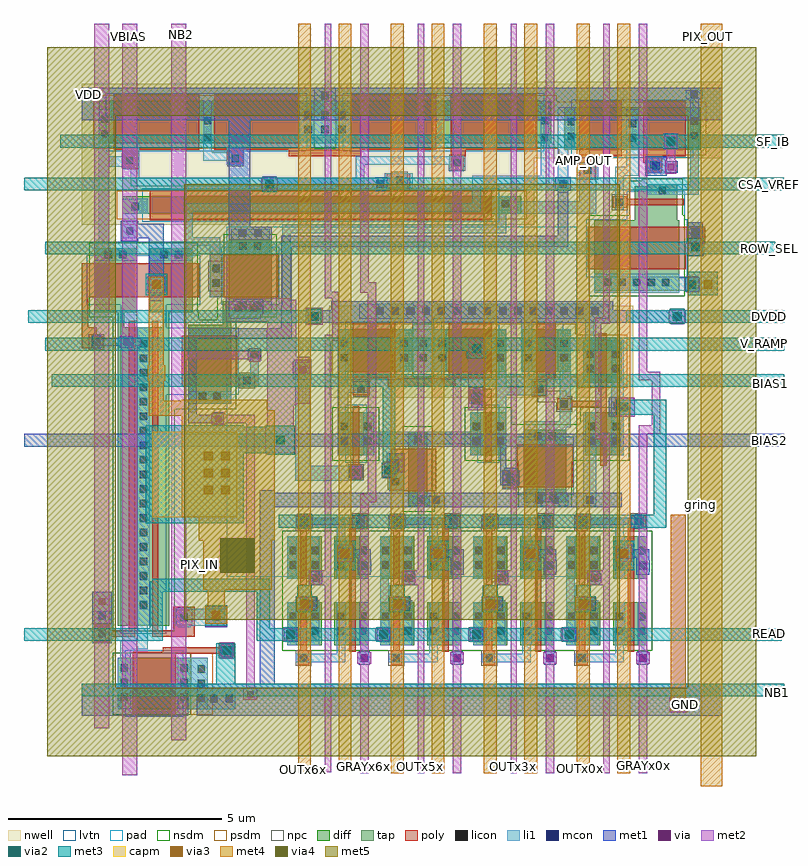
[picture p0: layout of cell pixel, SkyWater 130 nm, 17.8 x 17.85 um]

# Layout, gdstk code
from math import pi, radians
import gdstk
lib = gdstk.Library(unit=1e-6, precision=1e-09)
def R(c, l, rs):  # rectangles x0, y0, x1, y1
    for r in rs: c.add(gdstk.rectangle(r[:2], r[2:], *l))
def A(c, l, x, y, w, h, nx, ny, dx, dy):  # array of equal rectangles
    R(c, l, [(x+i*dx, y+j*dy, x+i*dx+w, y+j*dy+h) for i in range(nx) for j in range(ny)])
nwell = (64, 20)
diff = (65, 20)
tap = (65, 44)
poly = (66, 20)
licon = (66, 44)
li1 = (67, 20)
mcon = (67, 44)
met1 = (68, 20)
via = (68, 44)
met2 = (69, 20)
via2 = (69, 44)
met3 = (70, 20)
via3 = (70, 44)
met4 = (71, 20)
via4 = (71, 44)
met5 = (72, 20)
pad = (76, 20)
capm = (89, 44)
nsdm = (93, 44)
psdm = (94, 20)
npc = (95, 20)
lvtn = (125, 44)

dram_cell = lib.new_cell('dram_cell')
R(dram_cell, diff, [(-0.2,-0.35,0.6,0.65), (0.9,-0.35,1.7,0.65)])
R(dram_cell, poly, [(0.1,-0.5,0.25,0.8), (1.25,-0.5,1.4,0.785), (1.19,0.785,1.46,1.115)])
R(dram_cell, licon, [(-0.15,-0.105,0.02,0.065), (0.365,-0.105,0.535,0.065), (0.965,-0.105,1.135,0.065), (1.48,-0.105,1.65,0.065), (-0.15,0.235,0.02,0.405), (0.365,0.235,0.535,0.405), (0.965,0.235,1.135,0.405), (1.48,0.235,1.65,0.405), (1.24,0.865,1.41,1.035)])
R(dram_cell, li1, [(0.95,-0.4,1.15,-0.35), (-0.2,-0.35,0.02,0.65), (0.33,-0.35,0.55,0.65), (0.95,-0.35,1.17,0.65), (1.48,-0.35,1.7,0.65), (0.35,0.65,0.55,0.85), (0.35,0.85,1.5,1.05)])
R(dram_cell, nsdm, [(-0.325,-0.475,1.825,0.775)])
R(dram_cell, npc, [(1.14,0.765,1.51,1.135)])
dram_cell.add(gdstk.Label('storage', (0.66,0.93), layer=67, texttype=5))
dram_cell.add(gdstk.Label('WWL', (0.165,0.77), layer=66, texttype=16))
dram_cell.add(gdstk.Label('WBL', (-0.185,0.595), layer=67, texttype=16))
dram_cell.add(gdstk.Label('RWL', (1.61,-0.3), layer=67, texttype=16))
dram_cell.add(gdstk.Label('RBL', (1.08,-0.37), layer=67, texttype=16))

dram_array = lib.new_cell('dram_array')
R(dram_array, poly, [(0.035,-1.885,0.365,-1.825), (0.035,-1.825,0.45,-1.615), (0.3,-1.615,0.45,-1.4), (0.3,-0.325,0.45,0.15)])
R(dram_array, licon, [(0.115,-1.835,0.285,-1.665)])
R(dram_array, li1, [(0.115,-1.915,0.285,-1.585), (0,-1.4,0.2,-1.3), (0,-0.8,0.2,-0.4), (1.14,-0.51,1.31,-0.34), (1.265,0.09,1.435,0.1), (1.15,0.1,1.435,0.25), (1.265,0.25,1.435,0.26), (1.75,0.575,1.9,0.815), (1.74,0.815,1.91,0.985), (1.75,0.985,1.9,1.15), (0,1.05,0.2,1.55)])
R(dram_array, mcon, [(0.115,-1.835,0.285,-1.665), (0.015,-0.785,0.185,-0.615), (1.14,-0.51,1.31,-0.34), (1.265,0.09,1.435,0.26), (1.74,0.815,1.91,0.985), (0.015,1.365,0.185,1.535)])
R(dram_array, met1, [(0.085,-1.895,0.315,-1.835), (1.34,-1.88,1.66,-1.835), (0.085,-1.835,1.66,-1.665), (0.085,-1.665,0.315,-1.605), (1.34,-1.665,1.66,-1.62), (0.39,-1.13,0.71,-1.1), (-0.05,-1.1,0.71,-0.9), (-0.05,-0.9,0.25,-0.83), (0.39,-0.9,0.71,-0.87), (-0.06,-0.83,0.25,-0.57), (1.095,-0.585,1.355,-0.54), (-0.05,-0.57,0.25,-0.5), (1.08,-0.54,1.37,-0.31), (1.095,-0.31,1.355,-0.265), (1.22,0.015,1.48,0.335), (1.71,0.755,1.94,0.77), (1.665,0.77,1.985,1.03), (1.71,1.03,1.94,1.045), (-0.03,1.29,0.23,1.32), (-0.06,1.32,0.26,1.58), (-0.03,1.58,0.23,1.61)])
R(dram_array, via, [(1.425,-1.825,1.575,-1.675), (0.475,-1.075,0.625,-0.925), (1.15,-0.5,1.3,-0.35), (1.275,0.1,1.425,0.25), (1.75,0.825,1.9,0.975), (0.025,1.375,0.175,1.525)])
R(dram_array, met2, [(0,-2.15,0.2,1.32), (0.875,-2.15,1.025,-0.6), (1.37,-1.91,1.63,-1.9), (1.305,-1.9,1.695,-1.6), (1.37,-1.6,1.63,-1.59), (0.35,-1.2,0.7,-0.8), (0.875,-0.6,1.4,-0.25), (0.875,-0.25,1.025,1.85), (1.305,0.025,1.695,0.045), (1.19,0.045,1.695,0.305), (1.305,0.305,1.695,0.325), (1.695,0.74,1.955,0.75), (1.63,0.75,2.02,1.05), (1.695,1.05,1.955,1.06), (-0.06,1.32,0.26,1.58), (0,1.58,0.2,1.85)])
R(dram_array, via2, [(1.4,-1.85,1.6,-1.65), (0.45,-1.1,0.65,-0.9), (1.4,0.075,1.6,0.275), (1.725,0.8,1.925,1)])
R(dram_array, met3, [(1.325,-1.925,1.675,-1.9), (-0.45,-1.9,2.1,-1.6), (1.325,-1.6,1.675,-1.575), (0.3,-1.3,0.8,-0.6), (1.325,-0.25,1.675,0), (1.2,0,1.7,0.35), (1.325,0.35,1.675,0.38), (1.65,0.725,2,0.75), (-0.3,0.75,2.1,1.05), (1.65,1.05,2,1.075)])
R(dram_array, via3, [(0.45,-1.1,0.65,-0.9), (1.4,0.09,1.6,0.29)])
R(dram_array, met4, [(0.4,-2.15,0.7,-1.18), (1.35,-2.15,1.65,0.025), (0.37,-1.18,0.73,-0.82), (0.4,-0.82,0.7,1.85), (1.32,0.025,1.68,0.355), (1.35,0.355,1.65,1.85)])
R(dram_array, nsdm, [(-0.125,-0.275,2.025,0.025)])
R(dram_array, npc, [(0.015,-1.935,0.385,-1.565)])
dram_array.add(gdstk.Reference(dram_cell, (0.2,-0.75), x_reflection=True))
dram_array.add(gdstk.Reference(dram_cell, (0.2,0.5)))

c_4bit_dram = lib.new_cell('4bit_dram')
R(c_4bit_dram, li1, [(1.85,2.2,2.05,2.75)])
R(c_4bit_dram, nsdm, [(2.175,1.075,2.2,3.875)])
c_4bit_dram.add(gdstk.Reference(dram_array, (2.325,2.6)))
c_4bit_dram.add(gdstk.Reference(dram_array, (0.15,2.6)))

c_8bit_dram = lib.new_cell('8bit_dram')
R(c_8bit_dram, nsdm, [(4.3,0.525,4.325,3.325)])
c_8bit_dram.add(gdstk.Reference(c_4bit_dram, (4.3,-0.55)))
c_8bit_dram.add(gdstk.Reference(c_4bit_dram, (-0.05,-0.55)))

pixel = lib.new_cell('pixel')
R(pixel, nwell, [(4.8,-5.9,11.925,-3.75), (-1,-1.85,9.6,-0.3), (-1,-0.3,14,1.45), (9.6,1.45,14,1.5)])
R(pixel, diff, [(-0.15,-13.2,1.55,-12), (-0.15,-11.25,1.05,-4.25), (6.65,-8.45,7.15,-8.2), (9.35,-8.35,10.35,-6.65), (6.65,-8.2,7.1,-6.7), (5,-7.25,5.85,-6.25), (8.1,-7.25,8.95,-6.25), (10.8,-7.25,11.7,-6.25), (1.5,-6.05,2.5,-4.2), (10.75,-5.55,11.65,-4.55), (5,-5.3,6.75,-4.3), (7.25,-5.3,8.95,-4.3), (9.3,-5.3,10.45,-4.3), (-0.15,-4.25,0,-3.9), (0.9,-4.25,1.05,-3.9), (2.3,-4.2,2.5,-3.9), (-0.7,-3.9,0.3,-2.4), (0.6,-3.9,1.6,-2.4), (2.3,-3.9,3.45,-3.65), (2.45,-3.65,3.45,-2.2), (11,-3.4,13,-1.75), (11.95,-1.75,12.95,-0.95), (-0.05,-1.6,9.3,-1.18), (12.25,-0.95,12.95,-0.9), (10.3,-0.1,13.5,0.9), (-0.6,0.05,4.45,1.05), (4.95,0.05,10,1.05)])
R(pixel, tap, [(1.55,-13.2,1.95,-12), (6.75,-5.3,7.25,-4.3), (4.45,0.05,4.95,1.05)])
R(pixel, poly, [(0.2,-13.35,1.2,-11.9), (2.265,-11.99,2.535,-11.9), (0.2,-11.9,2.535,-11.85), (0.9,-11.85,2.535,-11.75), (2.265,-11.75,2.535,-11.66), (-0.75,-11.65,-0.3,-11.5), (-0.75,-11.5,0.25,-11.35), (0.65,-11.5,1.65,-11.35), (-0.75,-11.35,-0.3,-11.2), (0.1,-11.35,0.25,-4.1), (0.65,-11.35,0.8,-4.1), (1.15,-11.35,1.65,-10.8), (6.2,-8.1,7.3,-7.2), (8.85,-8.05,9.2,-8), (8.85,-8,10.5,-7.6), (5.29,-7.815,5.56,-7.485), (9.2,-7.6,10.5,-7), (11.15,-7.5,11.3,-6.125), (5.35,-7.485,5.5,-6.1), (8.45,-7.4,8.6,-6), (6.25,-7.2,7.3,-7.1), (10.135,-6.185,10.465,-6.125), (10.135,-6.125,11.3,-5.975), (8.4,-6,8.6,-5.985), (8.085,-5.985,8.6,-5.715), (10.135,-5.975,10.465,-5.915), (11.15,-5.975,11.3,-5.75), (9.59,-5.865,9.86,-5.85), (5.35,-5.85,5.75,-5.45), (9.59,-5.85,9.9,-5.535), (11.1,-5.75,11.3,-4.4), (8.4,-5.715,8.6,-5.7), (1.35,-5.65,3.15,-5.35), (6.175,-5.65,7.75,-5.45), (9.65,-5.535,9.9,-5.45), (5.35,-5.45,6.35,-4.15), (7.6,-5.45,8.6,-4.15), (9.65,-5.45,10.1,-4.15), (1.35,-5.35,2.65,-4.45), (-1,-4.75,-0.65,-4.735), (-1,-4.735,-0.485,-4.465), (-1,-4.465,-0.65,-4.25), (-1,-4.25,-0.85,-3.55), (-1,-3.55,1.75,-2.75), (2,-3.55,3.6,-2.55), (10.85,-2.9,13.15,-2.3), (10.85,-2.3,13.6,-1.9), (0.6,-1.75,8.6,-1.04), (11.435,-1.46,11.765,-1.4), (11.435,-1.4,13.1,-1.25), (11.435,-1.25,11.765,-1.19), (6.15,-1.04,6.7,-0.65), (10.65,-0.8,11.05,-0.25), (12.2,-0.6,12.6,-0.4), (7.65,-0.58,7.95,-0.25), (-0.05,-0.55,0.35,-0.1), (2.4,-0.45,2.8,-0.1), (12.15,-0.4,12.6,-0.25), (3.85,-0.25,5.55,-0.1), (7.65,-0.25,8,-0.1), (10.65,-0.25,11.65,1.05), (12.15,-0.25,13.15,1.05), (-0.25,-0.1,1.75,1.2), (2.1,-0.1,4.1,1.2), (5.3,-0.1,7.3,1.2), (7.65,-0.1,9.65,1.2)])
A(pixel, licon, 1.715, -13.025, 0.17, 0.17, 1, 3, 0, 0.34)
A(pixel, licon, -0.085, -13, 0.17, 0.17, 1, 3, 0, 0.34)
A(pixel, licon, 1.315, -13, 0.17, 0.17, 1, 3, 0, 0.34)
A(pixel, licon, 0.365, -10.845, 0.17, 0.17, 1, 19, 0, 0.34)
A(pixel, licon, 11.235, -3.285, 0.17, 0.17, 5, 1, 0.34, 0)
A(pixel, licon, 4.215, 0.295, 0.17, 0.17, 3, 2, 0.4, 0.34)
R(pixel, licon, [(2.315,-11.91,2.485,-11.74), (-0.61,-11.51,-0.44,-11.34), (1.315,-11.135,1.485,-10.965), (6.865,-8.385,7.035,-8.215), (9.62,-8.285,9.79,-8.115), (9.96,-8.285,10.13,-8.115), (6.265,-7.955,6.435,-7.785), (8.965,-7.91,9.135,-7.74), (5.34,-7.735,5.51,-7.565), (6.265,-7.615,6.435,-7.445), (5.065,-7.005,5.235,-6.835), (5.615,-7.005,5.785,-6.835), (8.165,-7.005,8.335,-6.835), (8.715,-7.005,8.885,-6.835), (10.865,-7.005,11.035,-6.835), (11.44,-7.005,11.61,-6.835), (6.79,-6.96,6.96,-6.79), (9.595,-6.885,9.765,-6.715), (9.935,-6.885,10.105,-6.715), (5.065,-6.665,5.235,-6.495), (5.615,-6.665,5.785,-6.495), (8.165,-6.665,8.335,-6.495), (8.715,-6.665,8.885,-6.495), (10.865,-6.665,11.035,-6.495), (11.44,-6.665,11.61,-6.495), (10.215,-6.135,10.385,-5.965), (1.745,-5.96,1.915,-5.79), (2.085,-5.96,2.255,-5.79), (8.165,-5.935,8.335,-5.765), (5.465,-5.785,5.635,-5.615), (9.64,-5.785,9.81,-5.615), (2.79,-5.585,2.96,-5.415), (10.83,-5.305,11,-5.135), (11.415,-5.305,11.585,-5.135), (5.065,-5.055,5.235,-4.885), (6.465,-5.055,6.635,-4.885), (6.915,-5.055,7.085,-4.885), (7.355,-5.055,7.525,-4.885), (8.715,-5.055,8.885,-4.885), (9.365,-5.055,9.535,-4.885), (10.215,-5.055,10.385,-4.885), (10.83,-4.965,11,-4.795), (11.415,-4.965,11.585,-4.795), (5.065,-4.715,5.235,-4.545), (6.465,-4.715,6.635,-4.545), (6.915,-4.715,7.085,-4.545), (7.355,-4.715,7.525,-4.545), (8.715,-4.715,8.885,-4.545), (9.365,-4.715,9.535,-4.545), (10.215,-4.715,10.385,-4.545), (-0.735,-4.685,-0.565,-4.515), (2.695,-3.835,2.865,-3.665), (3.035,-3.835,3.205,-3.665), (2.065,-3.305,2.235,-3.135), (2.065,-2.965,2.235,-2.795), (-0.455,-2.635,-0.285,-2.465), (-0.115,-2.635,0.055,-2.465), (0.845,-2.635,1.015,-2.465), (1.185,-2.635,1.355,-2.465), (2.695,-2.435,2.865,-2.265), (3.035,-2.435,3.205,-2.265), (13.29,-2.16,13.46,-1.99), (0.165,-1.51,0.335,-1.34), (8.84,-1.445,9.01,-1.275), (11.515,-1.41,11.685,-1.24), (12.515,-1.135,12.685,-0.965), (6.365,-0.885,6.535,-0.715), (10.765,-0.66,10.935,-0.49), (12.315,-0.535,12.485,-0.365), (7.715,-0.485,7.885,-0.315), (0.04,-0.435,0.21,-0.265), (2.515,-0.385,2.685,-0.215), (11.815,0.095,11.985,0.265), (1.85,0.1,2.02,0.27), (9.75,0.1,9.92,0.27), (10.38,0.135,10.55,0.305), (13.265,0.145,13.435,0.315), (-0.535,0.195,-0.365,0.365), (11.815,0.435,11.985,0.605), (10.38,0.475,10.55,0.645), (13.265,0.485,13.435,0.655), (1.85,0.5,2.02,0.67), (9.75,0.5,9.92,0.67), (-0.535,0.535,-0.365,0.705)])
R(pixel, li1, [(-0.15,-13.2,0.15,-12), (1.25,-13.2,2.6,-12.7), (1.25,-12.7,1.95,-12), (-0.1,-12,0.15,-11.8), (2.235,-11.91,2.565,-11.74), (-0.1,-11.8,0.55,-11.6), (-0.75,-11.65,-0.3,-10.9), (0.3,-11.6,0.55,-11.25), (1.25,-11.28,1.55,-11.25), (0.3,-11.25,0.6,-4.25), (1.2,-11.25,2.35,-10.85), (1.25,-10.85,1.55,-10.82), (6.75,-8.45,7.5,-8.2), (9.4,-8.45,10.4,-8.2), (10.75,-8.45,11.05,-6.25), (9.4,-8.2,10.35,-8.05), (6.2,-8.1,6.55,-7.2), (8.85,-8.05,9.2,-7.6), (4,-7.85,5.6,-7.5), (8.9,-7.6,9.2,-7.55), (4,-7.5,4.35,-5.075), (5,-7.25,5.25,-5.785), (5.6,-7.25,5.85,-7), (8.1,-7.25,8.35,-7), (8.7,-7.25,8.95,-5.85), (11.4,-7.25,11.7,-4.55), (5.6,-7,8.35,-6.7), (9.35,-6.9,10.35,-6.6), (5.6,-6.7,5.85,-6.25), (8.1,-6.7,8.35,-6.25), (9.35,-6.6,10.45,-6.45), (10.2,-6.45,10.45,-5.3), (1.5,-6.25,1.7,-6.05), (8.165,-6.06,8.335,-5.685), (1.5,-6.05,2.5,-5.75), (8.7,-5.85,9.9,-5.65), (5,-5.785,5.715,-5.615), (2.65,-5.65,3.15,-5.35), (8.7,-5.65,8.95,-4.3), (9.56,-5.65,9.89,-5.615), (5,-5.615,5.25,-4.3), (10.75,-5.55,11,-4.55), (2.95,-5.35,3.15,-4.8), (6.45,-5.3,7.55,-4.3), (9.3,-5.3,9.55,-4.05), (10.15,-5.3,10.45,-4.3), (-0.735,-4.765,-0.565,-4.435), (10.8,-4.55,11,-4.05), (6.75,-4.3,7.25,-4.05), (5.5,-4.05,11.35,-3.7), (2.45,-3.95,3.9,-3.75), (2.45,-3.75,3.45,-3.65), (3.7,-3.75,3.9,-2.05), (6.75,-3.7,7.25,-3.65), (2,-3.55,2.3,-2.55), (11,-3.45,13,-3.4), (11,-3.4,13.45,-3.1), (11,-3.1,13,-3), (-0.7,-2.7,0.3,-2.4), (0.6,-2.7,1.6,-2.4), (2,-2.55,2.25,-2.35), (2.5,-2.55,3.4,-1.95), (-0.7,-2.4,-0.35,-2.3), (1.4,-2.4,1.6,-2.35), (1.4,-2.35,2.25,-2.15), (13.2,-2.35,13.55,-1.8), (-0.6,-2.3,-0.35,-2.205), (-0.6,-2.205,-0.355,-2), (-0.05,-2.175,0.3,-1.6), (1.4,-2.15,1.6,-1.55), (3.7,-2.05,8.95,-1.85), (-0.6,-2,-0.35,-0.5), (8.7,-1.85,8.95,-1.6), (-0.05,-1.6,0.55,-1.25), (8.7,-1.6,11.05,-1.3), (1.4,-1.55,8.35,-1.35), (11.5,-1.5,11.7,-0.7), (8.15,-1.35,8.35,-0.9), (8.7,-1.3,9.15,-1.18), (10.65,-1.3,11.05,-0.8), (12.25,-1.15,13.45,-0.9), (10.15,-1.1,10.4,-0.1), (5.9,-1,6.75,-0.8), (0.15,-0.95,5.62,-0.75), (8.15,-0.9,9.95,-0.7), (13.25,-0.9,13.45,1.1), (6.1,-0.8,6.75,-0.65), (10.6,-0.8,11.1,-0.4), (0.15,-0.75,0.35,-0.55), (5.42,-0.75,5.62,-0.45), (9.75,-0.7,9.95,1.05), (11.5,-0.7,12.05,-0.5), (12.25,-0.65,12.7,-0.25), (7.6,-0.605,7.945,-0.6), (7.6,-0.6,7.95,-0.5), (-0.05,-0.55,0.35,-0.5), (-0.6,-0.5,0.35,-0.25), (7.6,-0.5,7.98,-0.45), (11.75,-0.5,12.05,0.85), (2.4,-0.45,2.8,-0.35), (5.42,-0.45,7.98,-0.3), (1.85,-0.35,2.8,-0.15), (5.42,-0.3,7.95,-0.25), (-0.6,-0.25,-0.35,0.85), (-0.05,-0.25,0.35,-0.05), (1.85,-0.15,2.05,1.05), (2.4,-0.15,2.8,-0.05), (10.15,-0.1,10.55,0.9), (4.1,0.05,5.3,1.05), (4.45,1.05,4.95,1.35), (13.15,1.1,13.55,1.3), (13.25,1.3,13.45,1.35)])
A(pixel, mcon, 5.895, -3.96, 0.17, 0.17, 15, 1, 0.36, 0)
R(pixel, mcon, [(2.01,-13.035,2.18,-12.865), (2.37,-13.035,2.54,-12.865), (2.315,-11.91,2.485,-11.74), (2.065,-11.135,2.235,-10.965), (-0.61,-11.11,-0.44,-10.94), (6.86,-8.385,7.03,-8.215), (7.22,-8.385,7.39,-8.215), (9.635,-8.385,9.805,-8.215), (9.995,-8.385,10.165,-8.215), (10.815,-8.385,10.985,-8.215), (8.94,-7.86,9.11,-7.69), (5.34,-7.735,5.51,-7.565), (6.265,-7.51,6.435,-7.34), (11.465,-6.185,11.635,-6.015), (8.165,-6.06,8.335,-5.89), (4.09,-5.335,4.26,-5.165), (2.965,-4.985,3.135,-4.815), (-0.735,-4.685,-0.565,-4.515), (2.585,-3.885,2.755,-3.715), (2.945,-3.885,3.115,-3.715), (13.215,-3.335,13.385,-3.165), (2.685,-2.135,2.855,-1.965), (3.045,-2.135,3.215,-1.965), (13.29,-2.11,13.46,-1.94), (0.04,-2.085,0.21,-1.915), (5.915,-0.985,6.085,-0.815), (10.19,-0.985,10.36,-0.815), (12.365,-0.56,12.535,-0.39), (4.615,1.09,4.785,1.26), (13.265,1.115,13.435,1.285)])
R(pixel, met1, [(-1,-13.35,1.5,-12.6), (1.7,-13.35,14,-12.6), (3.175,-12.6,3.525,-8.475), (2.27,-11.985,2.53,-11.94), (2.255,-11.94,2.545,-11.71), (2.27,-11.71,2.53,-11.665), (1.89,-11.28,2.41,-10.82), (-0.75,-11.2,-0.3,-10.45), (1.92,-10.82,2.38,-10.79), (3.175,-8.475,11.65,-8.125), (3.175,-8.125,3.525,-8.075), (8.8,-7.95,9.25,-7.6), (5.31,-7.795,5.54,-7.78), (5.265,-7.78,5.585,-7.52), (6.07,-7.76,6.33,-7.65), (6.07,-7.65,6.55,-7.44), (8.8,-7.6,9.2,-7.55), (8.8,-7.55,8.95,-7.05), (5.31,-7.52,5.54,-7.505), (6.15,-7.44,6.55,-7.2), (-2.35,-7.05,15.45,-6.75), (2.07,-6.56,2.33,-6.5), (1.5,-6.5,2.33,-6.3), (11.35,-6.35,11.95,-5.9), (1.5,-6.3,1.7,-4.525), (2.07,-6.3,2.33,-6.24), (8.12,-6.135,8.38,-5.815), (11.37,-5.9,11.73,-5.89), (3.97,-5.485,4.38,-5.455), (3.94,-5.455,4.38,-5.045), (2.92,-5.06,3.18,-5.03), (3.97,-5.045,4.38,-5.015), (2.89,-5.03,3.21,-4.77), (2.92,-4.77,3.18,-4.74), (-0.765,-4.745,-0.535,-4.685), (-0.11,-4.73,0.21,-4.685), (-0.765,-4.685,0.21,-4.515), (1.5,-4.525,3.925,-4.275), (-0.765,-4.515,-0.535,-4.455), (-0.11,-4.515,0.21,-4.47), (3.675,-4.275,3.925,-2.365), (4.3,-4.18,4.6,-4.15), (4.3,-4.15,13.13,-3.85), (2.45,-4.05,3.2,-3.95), (2.45,-3.95,3.25,-3.65), (4.3,-3.85,4.6,-3.82), (4.85,-3.85,11.45,-3.65), (0.575,-3.65,0.925,-3.425), (2.55,-3.65,3.25,-3.6), (13.15,-3.43,13.45,-3.4), (0.545,-3.425,0.955,-3.075), (13.12,-3.4,13.48,-3.1), (13.15,-3.1,13.45,-3.07), (0.575,-3.075,0.925,-2.175), (13.2,-2.58,13.55,-1.8), (3.675,-2.365,10.4,-2.115), (-0.08,-2.235,0.33,-2.175), (2.45,-2.2,3.45,-1.9), (-0.08,-2.175,0.925,-1.825), (10.15,-2.115,10.4,-1.055), (2.45,-1.9,2.95,0.6), (-0.08,-1.825,0.33,-1.765), (5.87,-1.06,6.13,-1.05), (10.09,-1.055,10.46,-0.745), (3.22,-1.05,6.15,-1.03), (3.22,-1.03,6.16,-0.77), (3.22,-0.77,6.15,-0.75), (5.87,-0.75,6.13,-0.74), (12.2,-0.7,12.7,-0.63), (12.2,-0.63,12.96,-0.37), (12.2,-0.37,12.7,-0.25), (-1,0.6,14,1.35)])
R(pixel, via, [(12.9,-13.175,13.05,-13.025), (2.875,-12.925,3.025,-12.775), (2.325,-11.9,2.475,-11.75), (2.075,-11.095,2.225,-10.945), (-0.6,-10.75,-0.45,-10.6), (5.35,-7.725,5.5,-7.575), (6.125,-7.675,6.275,-7.525), (2.125,-6.475,2.275,-6.325), (11.625,-6.2,11.775,-6.05), (8.175,-6.05,8.325,-5.9), (4.07,-5.325,4.22,-5.175), (2.975,-4.975,3.125,-4.825), (-0.025,-4.675,0.125,-4.525), (4.375,-4.075,4.525,-3.925), (12.875,-4.075,13.025,-3.925), (2.615,-3.875,2.765,-3.725), (2.935,-3.875,3.085,-3.725), (0.675,-3.325,0.825,-3.175), (13.225,-3.325,13.375,-3.175), (13.3,-2.45,13.45,-2.3), (3.325,-0.975,3.475,-0.825), (12.725,-0.575,12.875,-0.425)])
A(pixel, met2, 6.87, -14.7, 0.15, 2.475, 3, 1, 2.175, 0)
A(pixel, met2, 7.695, -14.7, 0.2, 2.5, 3, 1, 2.175, 0)
R(pixel, met2, [(-0.05,-14.75,0.3,-4.76), (5.52,-14.7,5.72,-12.15), (4.695,-14.675,4.845,-12.25), (1.1,-13.925,1.45,-5), (-0.7,-13.65,-0.35,2.85), (12.77,-13.275,13.18,-12.925), (2.79,-12.98,3.11,-12.72), (12.8,-12.925,13.15,-8.65), (2.85,-12.72,3.05,-6.5), (2.25,-12.02,2.55,-11.955), (2.24,-11.955,2.56,-11.695), (2.25,-11.695,2.55,-11.63), (1.92,-11.265,2.38,-11.22), (1.89,-11.22,2.41,-10.82), (1.92,-10.82,2.38,-10.775), (9.87,-8.7,10.07,2.85), (4.695,-8.675,4.845,-4.575), (6.87,-8.675,7.02,2.85), (11.22,-8.675,11.37,-6.875), (5.52,-8.65,5.72,-8.35), (7.695,-8.65,7.895,2.85), (9.045,-8.625,9.195,2.85), (12.045,-8.5,12.245,-6.75), (5.52,-8.35,5.9,-8.15), (5.7,-8.15,5.9,-3.45), (5.295,-7.81,5.555,-7.49), (6.05,-7.795,6.35,-7.73), (6.04,-7.73,6.36,-7.47), (6.05,-7.47,6.35,-7.405), (3.305,-7.21,4.015,-6.59), (11.025,-6.875,11.37,-6.725), (12.045,-6.75,12.55,-6.55), (11.025,-6.725,11.175,-4.175), (3.35,-6.59,3.97,-6.075), (12.35,-6.55,12.55,-5.5), (2.04,-6.53,2.36,-6.5), (2.04,-6.5,3.05,-6.3), (11.5,-6.35,11.95,-5.9), (2.04,-6.3,2.36,-6.27), (8.05,-6.2,8.45,-4.505), (3.35,-6.075,4.025,-6.05), (3.35,-6.05,4.35,-4.95), (12.05,-5.5,12.55,-5.3), (12.05,-5.3,12.245,-5.2), (12.045,-5.2,12.245,2.85), (2.92,-5.06,3.18,-5), (1.1,-5,3.18,-4.8), (3.35,-4.95,4.025,-4.825), (3.33,-4.825,4.025,-4.325), (1.1,-4.8,1.45,2.85), (2.92,-4.8,3.18,-4.74), (-0.08,-4.76,0.3,-4.685), (-0.08,-4.685,0.385,-4.515), (4.695,-4.575,5.025,-4.425), (-0.08,-4.515,0.3,-4.44), (-0.05,-4.44,0.3,2.85), (4.875,-4.425,5.025,-3.575), (3.35,-4.325,4.025,-4.125), (4.25,-4.2,4.65,-3.8), (12.8,-4.18,13.1,-4.15), (11.025,-4.175,11.37,-4.03), (12.755,-4.15,13.145,-3.85), (2.375,-4.125,4.025,-3.615), (11.18,-4.03,11.37,-4.025), (11.22,-4.025,11.37,2.85), (12.8,-3.85,13.1,-3.82), (2.375,-3.615,3.9,-3.575), (4.695,-3.575,5.025,-3.425), (0.575,-3.455,0.925,-3.45), (0.55,-3.45,0.95,-3.05), (5.52,-3.45,5.9,-3.2), (13.16,-3.435,13.44,-3.4), (4.695,-3.425,4.845,2.85), (13.12,-3.4,13.48,-3.1), (5.52,-3.2,5.72,2.85), (13.16,-3.1,13.44,-3.065), (0.575,-3.05,0.925,-3.045), (13.2,-2.595,13.55,-2.55), (13.17,-2.55,13.58,-2.2), (13.2,-2.2,13.55,-2.155), (3.25,-1.08,3.55,-1.05), (3.205,-1.05,3.595,-0.75), (3.25,-0.75,3.55,-0.72), (12.67,-0.66,12.93,-0.34), (12.7,-0.34,12.9,-0.095), (12.65,-0.095,12.95,0.295)])
R(pixel, via2, [(2.3,-11.925,2.5,-11.725), (2.05,-11.12,2.25,-10.92), (6.1,-7.7,6.3,-7.5), (3.56,-7,3.76,-6.8), (11.6,-6.225,11.8,-6.025), (8.15,-4.85,8.35,-4.65), (4.35,-4.1,4.55,-3.9), (12.85,-4.1,13.05,-3.9), (0.65,-3.35,0.85,-3.15), (13.2,-3.35,13.4,-3.15), (13.275,-2.475,13.475,-2.275), (3.3,-1,3.5,-0.8), (12.7,0,12.9,0.2)])
R(pixel, met3, [(-1,-12.9,15.45,-12.6), (2.15,-12.6,2.6,-11.65), (-2.35,-11.6,0.9,-11.3), (3.1,-11.6,15.4,-11.3), (0.6,-11.3,0.9,-10.45), (3.1,-11.3,3.4,-10.45), (1.895,-11.245,2.405,-10.765), (0.6,-10.45,3.4,-10.2), (0.65,-10.2,3.4,-10.15), (12.395,-8.95,12.695,-6.3), (0.5,-8.85,2.8,-7.21), (6.025,-7.775,6.375,-7.425), (6.05,-7.425,6.35,-5.65), (3.325,-7.235,3.995,-7.21), (0.5,-7.21,3.995,-6.59), (0.5,-6.59,2.8,-6.55), (3.325,-6.59,3.995,-6.565), (11.525,-6.3,12.695,-5.95), (-1.7,-5.65,15.45,-5.35), (8.025,-4.975,8.475,-4.8), (-1.85,-4.8,15.45,-4.5), (12.775,-4.175,13.125,-4.15), (4.285,-4.165,4.615,-4.15), (-2.25,-4.15,4.615,-3.85), (11.75,-4.15,15.45,-3.85), (4.285,-3.85,4.615,-3.835), (12.775,-3.85,13.125,-3.825), (0.5,-3.5,1,-3), (13.2,-3.5,13.9,-3.415), (13.135,-3.415,13.9,-3.085), (13.2,-3.085,13.9,-2.95), (13.175,-2.575,13.575,-2.55), (-1.85,-2.55,15.25,-2.25), (13.175,-2.25,13.575,-2.175), (3.225,-1.075,3.575,-1.05), (-2.35,-1.05,15.45,-0.75), (3.225,-0.75,3.575,-0.725), (12.625,-0.075,12.975,-0.05), (-1.5,-0.05,15.45,0.25), (12.625,0.25,12.975,0.275)])
A(pixel, via3, 1.865, -8.17, 0.2, 0.2, 1, 3, 0, 0.4)
A(pixel, via3, 2.265, -8.17, 0.2, 0.2, 1, 3, 0, 0.4)
R(pixel, via3, [(2.05,-11.095,2.25,-10.895), (0.65,-3.35,0.85,-3.15), (13.565,-3.35,13.765,-3.15)])
R(pixel, met4, [(13.5,-15,14,2.85), (4.07,-14.7,4.37,2.85), (6.245,-14.7,6.545,-12.1), (7.195,-14.7,7.495,-12.1), (8.42,-14.7,8.72,-12.1), (9.37,-14.7,9.67,-12.1), (10.595,-14.7,10.895,-12.1), (11.545,-14.7,11.845,-12.1), (5.02,-14.65,5.32,-12), (12.8,-13.225,13.15,-8.65), (1.89,-11.2,2.41,-10.79), (1.95,-10.79,2.35,-10.4), (1.85,-10.4,3.45,-9.25), (1.75,-9.25,3.45,-9.245), (1.745,-9.245,3.52,-8.7), (1.35,-8.7,3.52,-6.325), (5.02,-8.7,5.32,2.85), (6.245,-8.7,6.545,2.85), (7.195,-8.7,7.495,2.85), (8.42,-8.7,8.72,2.85), (9.37,-8.7,9.67,2.85), (10.595,-8.7,10.895,2.85), (11.545,-8.7,11.845,2.85), (0.575,-6.325,3.52,-6.195), (0.575,-6.195,3.35,-5.975), (0.575,-5.975,0.925,-5.505), (1.35,-5.975,3.35,-5.95), (0.545,-5.505,0.955,-5.145), (0.575,-5.145,0.925,-3.075)])
R(pixel, via4, [(2.25,-10,3.05,-9.2)])
R(pixel, met5, [(-1.8,-14.3,14.8,-12.7), (-1.8,-12.7,-0.2,0.7), (13.2,-12.7,14.8,0.7), (1.4,-11.1,11.6,-0.9), (-1.8,0.7,14.8,2.3)])
R(pixel, pad, [(2.4,-10.1,10.6,-1.9)])
R(pixel, capm, [(0.65,-8.7,2.65,-6.7)])
R(pixel, nsdm, [(-0.275,-13.325,1.55,-11.875), (-0.275,-11.375,1.175,-6.175), (6.525,-8.575,7.275,-8.075), (9.225,-8.475,10.475,-7.375), (6.525,-8.075,7.225,-6.575), (4.875,-7.375,5.975,-6.125), (7.975,-7.375,11.825,-6.525), (7.975,-6.525,9.075,-6.125), (10.675,-6.525,11.825,-6.125), (-0.275,-6.175,2.625,-4.075), (6.75,-5.425,7.25,-4.175), (-0.275,-4.075,1.74,-4.025), (2.175,-4.075,2.625,-4.025), (-0.825,-4.025,1.74,-3.915), (2.175,-4.025,3.575,-3.525), (-0.825,-3.915,1.725,-2.275), (2.325,-3.525,3.575,-2.075), (10.875,-3.525,13.125,-1.625), (11.825,-1.625,13.075,-0.825), (12.125,-0.825,13.075,-0.775), (4.45,-0.075,4.95,1.175)])
R(pixel, psdm, [(1.55,-13.325,2.075,-11.875), (10.625,-5.675,11.775,-5.425), (4.875,-5.425,6.75,-4.175), (7.25,-5.425,11.775,-4.425), (7.25,-4.425,10.575,-4.175), (-0.175,-1.725,9.425,-1.055), (10.175,-0.225,13.625,-0.075), (-0.725,-0.075,4.45,1.175), (4.95,-0.075,13.625,1.025), (4.95,1.025,10.125,1.175)])
R(pixel, npc, [(2.215,-12.01,2.585,-11.64), (-0.71,-11.61,-0.34,-11.24), (1.215,-11.235,1.585,-10.865), (6.165,-8.055,6.535,-7.345), (8.865,-8.01,9.235,-7.64), (5.24,-7.835,5.61,-7.465), (10.115,-6.235,10.485,-6.01), (8.065,-6.035,8.435,-5.665), (9.68,-6.01,10.485,-5.885), (5.365,-5.885,5.735,-5.515), (9.54,-5.885,10.485,-5.865), (9.54,-5.865,10.345,-5.74), (9.54,-5.74,9.91,-5.515), (2.69,-5.685,3.06,-5.315), (-0.835,-4.785,-0.465,-4.415), (1.965,-3.405,2.335,-2.695), (13.19,-2.26,13.56,-1.89), (11.415,-1.51,11.785,-1.14), (6.265,-0.985,6.635,-0.615), (10.665,-0.76,11.035,-0.39), (12.215,-0.635,12.585,-0.265), (7.615,-0.585,7.985,-0.215), (-0.06,-0.535,0.31,-0.165), (2.415,-0.485,2.785,-0.115)])
R(pixel, lvtn, [(0.02,-13.38,1.38,-11.82), (-0.08,-11.43,0.98,-5.83), (9.17,-8.18,10.53,-6.82), (5.17,-7.43,5.68,-6.07), (8.27,-7.43,8.78,-6.07), (-0.08,-5.83,2.68,-4.27), (5.17,-5.48,6.53,-4.12), (7.42,-5.48,8.78,-4.12), (9.47,-5.48,10.28,-4.12), (-0.08,-4.27,0.98,-3.73), (-0.88,-3.73,1.78,-2.57), (2.27,-3.73,3.63,-2.37), (10.82,-3.08,13.18,-1.72), (0.42,-1.78,8.78,-1), (11.77,-1.72,13.13,-1.07), (10.47,-0.28,13.33,1.08), (-0.43,-0.13,4.28,1.23), (5.12,-0.13,9.83,1.23)])
pixel.add(gdstk.Reference(c_8bit_dram, (12.345,-8.5), rotation=pi))
pixel.add(gdstk.Label('AMP_OUT', (10.75,-0.35), layer=66, texttype=5))
pixel.add(gdstk.Label('gring', (13.5,-8.4), layer=72, texttype=5))
pixel.add(gdstk.Label('VDD', (-0.85,1.2), layer=68, texttype=16))
pixel.add(gdstk.Label('VREF', (-0.65,1.3), layer=69, texttype=16))
pixel.add(gdstk.Label('PIX_OUT', (13.65,2.55), layer=71, texttype=16))
pixel.add(gdstk.Label('ROW_SEL', (15.1,-2.4), layer=70, texttype=16))
pixel.add(gdstk.Label('CSA_VREF', (15.1,-0.9), layer=70, texttype=16))
pixel.add(gdstk.Label('SF_IB', (15.2,0.1), layer=70, texttype=16))
pixel.add(gdstk.Label('NB1', (15.3,-12.8), layer=70, texttype=16))
pixel.add(gdstk.Label('GND', (13.15,-13.1), layer=68, texttype=16))
pixel.add(gdstk.Label('DVDD', (15.1,-4), layer=70, texttype=16))
pixel.add(gdstk.Label('PIX_IN', (1.76,-9.82), layer=72, texttype=16))
pixel.add(gdstk.Label('READ', (15.11,-11.43), layer=70, texttype=16))
pixel.add(gdstk.Label('BIAS2', (15.11,-6.91), layer=68, texttype=16))
pixel.add(gdstk.Label('BIAS1', (15.135,-5.56), layer=70, texttype=16))
pixel.add(gdstk.Label('V_RAMP', (14.995,-4.645), layer=70, texttype=16))
pixel.add(gdstk.Label('GRAYx0x', (12.155,-14.51), layer=69, texttype=16))
pixel.add(gdstk.Label('OUTx1x', (11.28,-14.575), layer=69, texttype=16))
pixel.add(gdstk.Label('OUTx0x', (10.675,-14.585), layer=71, texttype=16))
pixel.add(gdstk.Label('OUTx3x', (9.105,-14.53), layer=69, texttype=16))
pixel.add(gdstk.Label('OUTx2x', (8.58,-14.49), layer=71, texttype=16))
pixel.add(gdstk.Label('OUTx5x', (6.94,-14.54), layer=69, texttype=16))
pixel.add(gdstk.Label('OUTx4x', (6.415,-14.49), layer=71, texttype=16))
pixel.add(gdstk.Label('GRAYx6x', (5.595,-14.53), layer=69, texttype=16))
pixel.add(gdstk.Label('GRAYx7x', (5.155,-14.5), layer=71, texttype=16))
pixel.add(gdstk.Label('OUTx6x', (4.205,-14.605), layer=71, texttype=16))
pixel.add(gdstk.Label('OUTx7x', (4.795,-14.475), layer=69, texttype=16))
pixel.add(gdstk.Label('GRAYx5x', (7.35,-14.552), layer=71, texttype=16))
pixel.add(gdstk.Label('GRAYx4x', (7.765,-14.455), layer=69, texttype=16))
pixel.add(gdstk.Label('GRAYx3x', (9.515,-14.61), layer=71, texttype=16))
pixel.add(gdstk.Label('GRAYx2x', (9.945,-14.535), layer=69, texttype=16))
pixel.add(gdstk.Label('GRAYx1x', (11.705,-14.54), layer=71, texttype=16))
pixel.add(gdstk.Label('VBIAS', (0.1,2.55), layer=69, texttype=16))
pixel.add(gdstk.Label('NB2', (1.35,2.6), layer=69, texttype=16))

lib.write_gds('pixel.gds')
